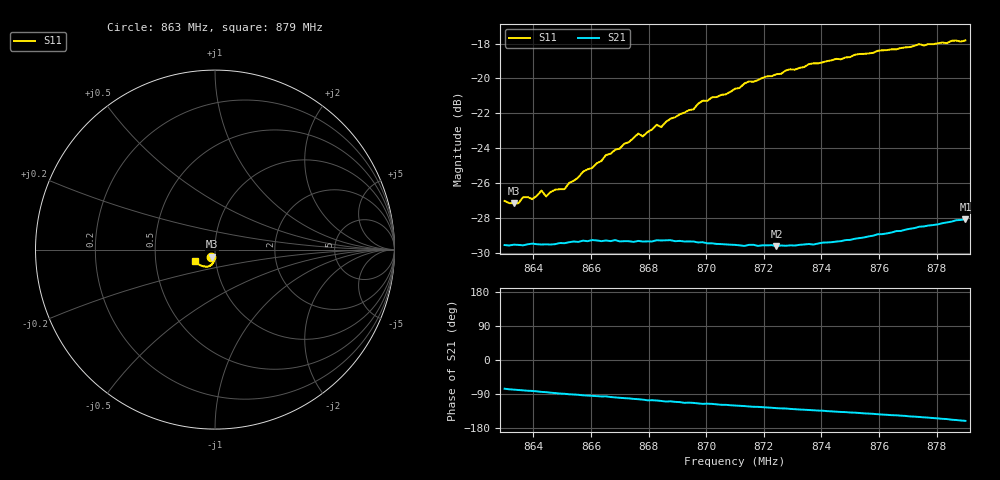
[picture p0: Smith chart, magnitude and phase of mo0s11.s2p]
# HZ S RI R 50
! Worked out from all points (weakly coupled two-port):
!   101 points, 863 MHz to 879 MHz, reference 50 ohm
!   highest |S21| = -28.08 dB at 879 MHz (marker M1); lowest = -29.6 dB at 872.44 MHz (marker M2)
!   lowest |S11| = -27.2 dB at 863.32 MHz (marker M3), VSWR 1.09, Z = 48 - j3.82 ohm
!   |S11| at or under -10 dB: start of sweep to end of sweep
!   S12 and S22 are empty: the file has one direction only
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8.63e8  -0.0199 -0.0398  0.00815 -0.0323  0 0  0 0
8.6332e8  -0.0187 -0.0397  0.00683 -0.0327  0 0  0 0
8.6348e8  -0.0171 -0.0404  0.00627 -0.0327  0 0  0 0
8.6364e8  -0.0161 -0.0427  0.0057 -0.0327  0 0  0 0
8.6396e8  -0.0134 -0.043  0.00489 -0.0332  0 0  0 0
8.6428e8  -0.0129 -0.0459  0.00339 -0.0332  0 0  0 0
8.6444e8  -0.0114 -0.0444  0.00301 -0.0333  0 0  0 0
8.6476e8  -0.0106 -0.0468  0.00158 -0.0334  0 0  0 0
8.6508e8  -0.0098 -0.0471  0.0005 -0.0337  0 0  0 0
8.6572e8  -0.00765 -0.0535  -0.00189 -0.0342  0 0  0 0
8.6764e8  -0.00839 -0.069  -0.00792 -0.0333  0 0  0 0
8.678e8  -0.00879 -0.0676  -0.00859 -0.033  0 0  0 0
8.6828e8  -0.00977 -0.073  -0.00999 -0.0329  0 0  0 0
8.6844e8  -0.0105 -0.0717  -0.0106 -0.0326  0 0  0 0
8.6876e8  -0.0113 -0.0758  -0.0112 -0.0325  0 0  0 0
8.6956e8  -0.016 -0.08  -0.0134 -0.0313  0 0  0 0
8.6988e8  -0.0176 -0.0845  -0.0147 -0.0305  0 0  0 0
8.71e8  -0.0268 -0.0895  -0.0167 -0.0288  0 0  0 0
8.7244e8  -0.0419 -0.094  -0.0199 -0.0263  0 0  0 0
8.7372e8  -0.0555 -0.0955  -0.0226 -0.0246  0 0  0 0
8.7644e8  -0.0869 -0.0844  -0.0298 -0.0204  0 0  0 0
8.79e8  -0.1129 -0.0613  -0.0372 -0.0131  0 0  0 0
